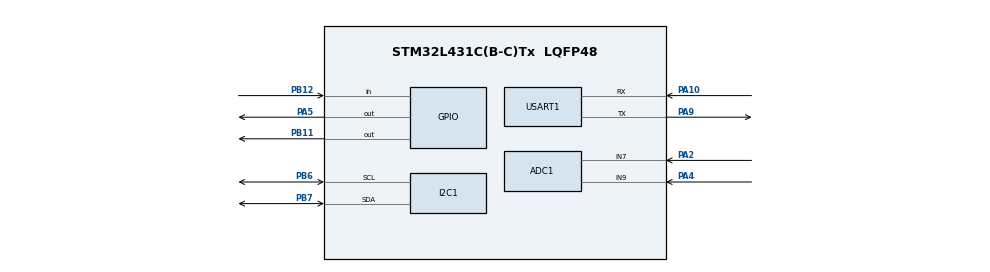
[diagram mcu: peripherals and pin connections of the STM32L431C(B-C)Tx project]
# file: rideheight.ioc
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ADC1.Channel-0\#ChannelRegularConversion=ADC_CHANNEL_9
ADC1.NbrOfConversionFlag=1
ADC1.OffsetNumber-0\#ChannelRegularConversion=ADC_OFFSET_NONE
ADC1.Rank-0\#ChannelRegularConversion=1
ADC1.SamplingTime-0\#ChannelRegularConversion=ADC_SAMPLETIME_2CYCLES_5
ADC1.master=1
I2C1.Timing=0x00100D14
Mcu.Family=STM32L4
Mcu.Name=STM32L431C(B-C)Tx
Mcu.Package=LQFP48
NVIC.PriorityGroup=NVIC_PRIORITYGROUP_4
PA10.Mode=Asynchronous
PA10.Signal=USART1_RX
PA2.Signal=ADCx_IN7
PA4.Signal=ADCx_IN9
PA5.Signal=GPIO_Output
PA9.Mode=Asynchronous
PA9.Signal=USART1_TX
PB11.Signal=GPIO_Output
PB12.Signal=GPIO_Input
PB6.Mode=I2C
PB6.Signal=I2C1_SCL
PB7.Mode=I2C
PB7.Signal=I2C1_SDA
ProjectManager.HeapSize=0x200
ProjectManager.StackSize=0x400
ProjectManager.TargetToolchain=STM32CubeIDE
RCC.ADCFreq_Value=32000000
RCC.HSE_VALUE=8000000
RCC.HSI48_VALUE=48000000
RCC.HSI_VALUE=16000000
RCC.LSE_VALUE=32768
RCC.MSI_VALUE=4000000
RCC.PLLSAI1N=16
RCC.VCOOutputFreq_Value=32000000
SH.ADCx_IN7.0=ADC1_IN7,IN7-Single-Ended
SH.ADCx_IN9.0=ADC1_IN9,IN9-Single-Ended
USART1.VirtualMode-Asynchronous=VM_ASYNC
board=custom

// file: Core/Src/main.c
/* USER CODE BEGIN Header */
/**
  ******************************************************************************
  * @file           : main.c
  * @brief          : Main program body
  ******************************************************************************
  * @attention
  *
  * Copyright (c) 2026 STMicroelectronics.
  * All rights reserved.
  *
  * This software is licensed under terms that can be found in the LICENSE file
  * in the root directory of this software component.
  * If no LICENSE file comes with this software, it is provided AS-IS.
  *
  ******************************************************************************
  */
/* USER CODE END Header */
#include "main.h"

/* USER CODE BEGIN Includes */
#include <stdio.h>
#include <string.h>
#include "vl53l0x_api.h"
/* USER CODE END Includes */

ADC_HandleTypeDef hadc1;

I2C_HandleTypeDef hi2c1;

UART_HandleTypeDef huart1;

void SystemClock_Config(void);
static void MX_GPIO_Init(void);
static void MX_ADC1_Init(void);
static void MX_USART1_UART_Init(void);
static void MX_I2C1_Init(void);

int main(void)
{

  /* MCU Configuration--------------------------------------------------------*/

  /* Reset of all peripherals, Initializes the Flash interface and the Systick. */
  HAL_Init();

  /* Configure the system clock */
  SystemClock_Config();

  /* Initialize all configured peripherals */
  MX_GPIO_Init();
  MX_ADC1_Init();
  MX_USART1_UART_Init();
  MX_I2C1_Init();
  /* USER CODE BEGIN 2 */
  HAL_Delay(100);

    VL53L0X_Dev_t MyDevice;
    VL53L0X_DEV Dev = &MyDevice;
    Dev->I2cDevAddr = 0x52;

    char msg[64];
    int len;

    len = sprintf(msg, "Initializing Sensor...\r\n");
    HAL_UART_Transmit(&huart1, (uint8_t*)msg, len, 100);

    VL53L0X_DataInit(Dev);
    VL53L0X_StaticInit(Dev);

    uint32_t refSpadCount;
    uint8_t isApertureSpads;
    uint8_t VhvSettings;
    uint8_t PhaseCal;

    VL53L0X_PerformRefSpadManagement(Dev, &refSpadCount, &isApertureSpads);
    VL53L0X_PerformRefCalibration(Dev, &VhvSettings, &PhaseCal);

    // --- SAFEST RANGING PROFILE: DEFAULT ---
    // A 33ms timing budget is the standard default.
    // It provides a stable balance of range and timeout safety.
    VL53L0X_SetMeasurementTimingBudgetMicroSeconds(Dev, 33000);

    // Set to Continuous Mode so the sensor manages its own timing
    VL53L0X_SetDeviceMode(Dev, VL53L0X_DEVICEMODE_CONTINUOUS_RANGING);

    // Kick off the background measurements
    VL53L0X_StartMeasurement(Dev);

    len = sprintf(msg, "VL53L0X Init Complete!\r\n");
    HAL_UART_Transmit(&huart1, (uint8_t*)msg, len, 100);
  /* USER CODE END 2 */

    /* Infinite loop */
      /* USER CODE BEGIN WHILE */
      while (1)
      {
          HAL_GPIO_TogglePin(GPIOB, GPIO_PIN_11);
          HAL_GPIO_TogglePin(GPIOA, GPIO_PIN_5);

          VL53L0X_RangingMeasurementData_t RangingData = {0};
          uint32_t timeout_counter = 0;

          // 1. Tell the sensor to take ONE measurement
          VL53L0X_StartMeasurement(Dev);

          // 2. STAY OFF THE I2C BUS! Wait for the physical PB12 pin to go LOW.
          while (HAL_GPIO_ReadPin(GPIOB, GPIO_PIN_12) == GPIO_PIN_SET && timeout_counter < 60) {
              HAL_Delay(1);
              timeout_counter++;
          }

          // 3. Process the result based on the hardware pin
          if (timeout_counter < 60) {
              // The pin went low! The sensor is resting and safe to talk to.

              VL53L0X_GetRangingMeasurementData(Dev, &RangingData);

              if (RangingData.RangeStatus == 0) {
                  len = sprintf(msg, "Distance: %u mm\r\n", RangingData.RangeMilliMeter);
              } else {
                  len = sprintf(msg, "Out of range. Status: %i\r\n", RangingData.RangeStatus);
              }

              // CRITICAL: You must clear the interrupt over I2C, which releases the GPIO pin
              // back to HIGH so it is ready for the next measurement [cite: 1706-1708].
              VL53L0X_ClearInterruptMask(Dev, 0);

          }
          else {
              // THE PIN NEVER WENT LOW. The sensor stalled.
              len = sprintf(msg, "SENSOR STALLED! Attempting Software Reset...\r\n");

              // Clear STM32 I2C peripheral just in case
              HAL_I2C_DeInit(&hi2c1);
              HAL_Delay(1);
              MX_I2C1_Init();

              // Since XSHUT is 3.3V, a software reset is our ONLY recovery option [cite: 1684-1686].
              VL53L0X_ResetDevice(Dev);
              HAL_Delay(10);

              // Re-init API
              VL53L0X_DataInit(Dev);
              VL53L0X_StaticInit(Dev);
              VL53L0X_PerformRefSpadManagement(Dev, &refSpadCount, &isApertureSpads);
              VL53L0X_PerformRefCalibration(Dev, &VhvSettings, &PhaseCal);
              VL53L0X_SetMeasurementTimingBudgetMicroSeconds(Dev, 33000);
              VL53L0X_SetDeviceMode(Dev, VL53L0X_DEVICEMODE_SINGLE_RANGING);
          }

          HAL_UART_Transmit(&huart1, (uint8_t*)msg, len, 100);

          // Short delay between measurements
          HAL_Delay(50);
      }
      /* USER CODE END WHILE */

}

void SystemClock_Config(void)
{
  RCC_OscInitTypeDef RCC_OscInitStruct = {0};
  RCC_ClkInitTypeDef RCC_ClkInitStruct = {0};

  /** Configure the main internal regulator output voltage
  */
  if (HAL_PWREx_ControlVoltageScaling(PWR_REGULATOR_VOLTAGE_SCALE1) != HAL_OK)
  {
    Error_Handler();
  }

  /** Initializes the RCC Oscillators according to the specified parameters
  * in the RCC_OscInitTypeDef structure.
  */
  RCC_OscInitStruct.OscillatorType = RCC_OSCILLATORTYPE_MSI;
  RCC_OscInitStruct.MSIState = RCC_MSI_ON;
  RCC_OscInitStruct.MSICalibrationValue = 0;
  RCC_OscInitStruct.MSIClockRange = RCC_MSIRANGE_6;
  RCC_OscInitStruct.PLL.PLLState = RCC_PLL_NONE;
  if (HAL_RCC_OscConfig(&RCC_OscInitStruct) != HAL_OK)
  {
    Error_Handler();
  }

  /** Initializes the CPU, AHB and APB buses clocks
  */
  RCC_ClkInitStruct.ClockType = RCC_CLOCKTYPE_HCLK|RCC_CLOCKTYPE_SYSCLK
                              |RCC_CLOCKTYPE_PCLK1|RCC_CLOCKTYPE_PCLK2;
  RCC_ClkInitStruct.SYSCLKSource = RCC_SYSCLKSOURCE_MSI;
  RCC_ClkInitStruct.AHBCLKDivider = RCC_SYSCLK_DIV1;
  RCC_ClkInitStruct.APB1CLKDivider = RCC_HCLK_DIV1;
  RCC_ClkInitStruct.APB2CLKDivider = RCC_HCLK_DIV1;

  if (HAL_RCC_ClockConfig(&RCC_ClkInitStruct, FLASH_LATENCY_0) != HAL_OK)
  {
    Error_Handler();
  }
}

static void MX_ADC1_Init(void)
{

  ADC_ChannelConfTypeDef sConfig = {0};

  /** Common config
  */
  hadc1.Instance = ADC1;
  hadc1.Init.ClockPrescaler = ADC_CLOCK_ASYNC_DIV1;
  hadc1.Init.Resolution = ADC_RESOLUTION_12B;
  hadc1.Init.DataAlign = ADC_DATAALIGN_RIGHT;
  hadc1.Init.ScanConvMode = ADC_SCAN_DISABLE;
  hadc1.Init.EOCSelection = ADC_EOC_SINGLE_CONV;
  hadc1.Init.LowPowerAutoWait = DISABLE;
  hadc1.Init.ContinuousConvMode = DISABLE;
  hadc1.Init.NbrOfConversion = 1;
  hadc1.Init.DiscontinuousConvMode = DISABLE;
  hadc1.Init.ExternalTrigConv = ADC_SOFTWARE_START;
  hadc1.Init.ExternalTrigConvEdge = ADC_EXTERNALTRIGCONVEDGE_NONE;
  hadc1.Init.DMAContinuousRequests = DISABLE;
  hadc1.Init.Overrun = ADC_OVR_DATA_PRESERVED;
  hadc1.Init.OversamplingMode = DISABLE;
  if (HAL_ADC_Init(&hadc1) != HAL_OK)
  {
    Error_Handler();
  }

  /** Configure Regular Channel
  */
  sConfig.Channel = ADC_CHANNEL_9;
  sConfig.Rank = ADC_REGULAR_RANK_1;
  sConfig.SamplingTime = ADC_SAMPLETIME_2CYCLES_5;
  sConfig.SingleDiff = ADC_SINGLE_ENDED;
  sConfig.OffsetNumber = ADC_OFFSET_NONE;
  sConfig.Offset = 0;
  if (HAL_ADC_ConfigChannel(&hadc1, &sConfig) != HAL_OK)
  {
    Error_Handler();
  }

}

static void MX_I2C1_Init(void)
{

  hi2c1.Instance = I2C1;
  hi2c1.Init.Timing = 0x00100D14;
  hi2c1.Init.OwnAddress1 = 0;
  hi2c1.Init.AddressingMode = I2C_ADDRESSINGMODE_7BIT;
  hi2c1.Init.DualAddressMode = I2C_DUALADDRESS_DISABLE;
  hi2c1.Init.OwnAddress2 = 0;
  hi2c1.Init.OwnAddress2Masks = I2C_OA2_NOMASK;
  hi2c1.Init.GeneralCallMode = I2C_GENERALCALL_DISABLE;
  hi2c1.Init.NoStretchMode = I2C_NOSTRETCH_DISABLE;
  if (HAL_I2C_Init(&hi2c1) != HAL_OK)
  {
    Error_Handler();
  }

  /** Configure Analogue filter
  */
  if (HAL_I2CEx_ConfigAnalogFilter(&hi2c1, I2C_ANALOGFILTER_ENABLE) != HAL_OK)
  {
    Error_Handler();
  }

  /** Configure Digital filter
  */
  if (HAL_I2CEx_ConfigDigitalFilter(&hi2c1, 0) != HAL_OK)
  {
    Error_Handler();
  }

}

static void MX_USART1_UART_Init(void)
{

  huart1.Instance = USART1;
  huart1.Init.BaudRate = 115200;
  huart1.Init.WordLength = UART_WORDLENGTH_8B;
  huart1.Init.StopBits = UART_STOPBITS_1;
  huart1.Init.Parity = UART_PARITY_NONE;
  huart1.Init.Mode = UART_MODE_TX_RX;
  huart1.Init.HwFlowCtl = UART_HWCONTROL_NONE;
  huart1.Init.OverSampling = UART_OVERSAMPLING_16;
  huart1.Init.OneBitSampling = UART_ONE_BIT_SAMPLE_DISABLE;
  huart1.AdvancedInit.AdvFeatureInit = UART_ADVFEATURE_NO_INIT;
  if (HAL_UART_Init(&huart1) != HAL_OK)
  {
    Error_Handler();
  }

}

static void MX_GPIO_Init(void)
{
  GPIO_InitTypeDef GPIO_InitStruct = {0};

  /* GPIO Ports Clock Enable */
  __HAL_RCC_GPIOA_CLK_ENABLE();
  __HAL_RCC_GPIOB_CLK_ENABLE();

  /*Configure GPIO pin Output Level */
  HAL_GPIO_WritePin(GPIOA, GPIO_PIN_5, GPIO_PIN_RESET);

  /*Configure GPIO pin Output Level */
  HAL_GPIO_WritePin(GPIOB, GPIO_PIN_11, GPIO_PIN_RESET);

  /*Configure GPIO pin : PA5 */
  GPIO_InitStruct.Pin = GPIO_PIN_5;
  GPIO_InitStruct.Mode = GPIO_MODE_OUTPUT_PP;
  GPIO_InitStruct.Pull = GPIO_NOPULL;
  GPIO_InitStruct.Speed = GPIO_SPEED_FREQ_LOW;
  HAL_GPIO_Init(GPIOA, &GPIO_InitStruct);

  /*Configure GPIO pin : PB11 */
  GPIO_InitStruct.Pin = GPIO_PIN_11;
  GPIO_InitStruct.Mode = GPIO_MODE_OUTPUT_PP;
  GPIO_InitStruct.Pull = GPIO_NOPULL;
  GPIO_InitStruct.Speed = GPIO_SPEED_FREQ_LOW;
  HAL_GPIO_Init(GPIOB, &GPIO_InitStruct);

  /*Configure GPIO pin : PB12 */
  GPIO_InitStruct.Pin = GPIO_PIN_12;
  GPIO_InitStruct.Mode = GPIO_MODE_INPUT;
  GPIO_InitStruct.Pull = GPIO_NOPULL;
  HAL_GPIO_Init(GPIOB, &GPIO_InitStruct);

}

void Error_Handler(void)
{
  __disable_irq();
  while (1)
  {
  }
}
